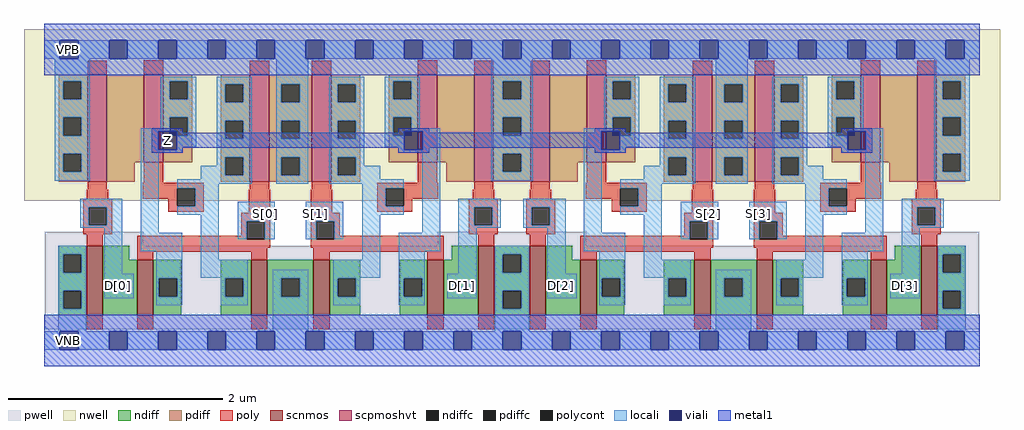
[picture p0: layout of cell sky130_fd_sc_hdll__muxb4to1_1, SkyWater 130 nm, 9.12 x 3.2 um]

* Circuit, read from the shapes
.subckt sky130_fd_sc_hdll__muxb4to1_1 D[3] D[2] D[1] D[0] S[3] S[2] S[1] S[0] VGND VNB VPB VPWR Z
XM1 n1 D[0] VGND VNB sky130_fd_pr__nfet_01v8 w=0.65 l=0.15
XM2 Z S[0] n1 VNB sky130_fd_pr__nfet_01v8 w=0.52 l=0.15
XM3 VGND S[0] n2 VNB sky130_fd_pr__nfet_01v8 w=0.52 l=0.15
XM4 n3 S[1] VGND VNB sky130_fd_pr__nfet_01v8 w=0.52 l=0.15
XM5 n4 S[1] Z VNB sky130_fd_pr__nfet_01v8 w=0.52 l=0.15
XM6 VGND D[1] n4 VNB sky130_fd_pr__nfet_01v8 w=0.65 l=0.15
XM7 n5 D[2] VGND VNB sky130_fd_pr__nfet_01v8 w=0.65 l=0.15
XM8 Z S[2] n5 VNB sky130_fd_pr__nfet_01v8 w=0.52 l=0.15
XM9 VGND S[2] n6 VNB sky130_fd_pr__nfet_01v8 w=0.52 l=0.15
XM10 n7 S[3] VGND VNB sky130_fd_pr__nfet_01v8 w=0.52 l=0.15
XM11 n8 S[3] Z VNB sky130_fd_pr__nfet_01v8 w=0.52 l=0.15
XM12 VGND D[3] n8 VNB sky130_fd_pr__nfet_01v8 w=0.65 l=0.15
XM13 n9 D[0] VPWR VPB sky130_fd_pr__pfet_01v8_hvt w=1 l=0.18
XM14 Z n2 n9 VPB sky130_fd_pr__pfet_01v8_hvt w=0.82 l=0.18
XM15 VPWR S[0] n2 VPB sky130_fd_pr__pfet_01v8_hvt w=1 l=0.18
XM16 n3 S[1] VPWR VPB sky130_fd_pr__pfet_01v8_hvt w=1 l=0.18
XM17 n10 n3 Z VPB sky130_fd_pr__pfet_01v8_hvt w=0.82 l=0.18
XM18 VPWR D[1] n10 VPB sky130_fd_pr__pfet_01v8_hvt w=1 l=0.18
XM19 n11 D[2] VPWR VPB sky130_fd_pr__pfet_01v8_hvt w=1 l=0.18
XM20 Z n6 n11 VPB sky130_fd_pr__pfet_01v8_hvt w=0.82 l=0.18
XM21 VPWR S[2] n6 VPB sky130_fd_pr__pfet_01v8_hvt w=1 l=0.18
XM22 n7 S[3] VPWR VPB sky130_fd_pr__pfet_01v8_hvt w=1 l=0.18
XM23 n12 n7 Z VPB sky130_fd_pr__pfet_01v8_hvt w=0.82 l=0.18
XM24 VPWR D[3] n12 VPB sky130_fd_pr__pfet_01v8_hvt w=1 l=0.18
.ends

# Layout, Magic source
magic
tech sky130A
magscale 1 2
<< nwell >>
rect -38 261 1786 582
<< pwell >>
rect 1 177 185 203
rect 735 177 1013 203
rect 1563 177 1747 203
rect 1 21 1747 177
rect 29 -17 63 21
<< scnmos >>
rect 79 47 109 177
rect 174 47 204 151
rect 387 47 417 151
rect 503 47 533 151
rect 716 47 746 151
rect 811 47 841 177
rect 907 47 937 177
rect 1002 47 1032 151
rect 1215 47 1245 151
rect 1331 47 1361 151
rect 1544 47 1574 151
rect 1639 47 1669 177
<< scpmoshvt >>
rect 81 297 117 497
rect 186 333 222 497
rect 384 297 420 497
rect 500 297 536 497
rect 698 333 734 497
rect 803 297 839 497
rect 909 297 945 497
rect 1014 333 1050 497
rect 1212 297 1248 497
rect 1328 297 1364 497
rect 1526 333 1562 497
rect 1631 297 1667 497
<< ndiff >>
rect 27 161 79 177
rect 27 127 35 161
rect 69 127 79 161
rect 27 93 79 127
rect 27 59 35 93
rect 69 59 79 93
rect 27 47 79 59
rect 109 151 159 177
rect 761 151 811 177
rect 109 47 174 151
rect 204 116 256 151
rect 204 82 214 116
rect 248 82 256 116
rect 204 47 256 82
rect 330 116 387 151
rect 330 82 338 116
rect 372 82 387 116
rect 330 47 387 82
rect 417 116 503 151
rect 417 82 443 116
rect 477 82 503 116
rect 417 47 503 82
rect 533 116 590 151
rect 533 82 548 116
rect 582 82 590 116
rect 533 47 590 82
rect 664 116 716 151
rect 664 82 672 116
rect 706 82 716 116
rect 664 47 716 82
rect 746 47 811 151
rect 841 161 907 177
rect 841 127 857 161
rect 891 127 907 161
rect 841 93 907 127
rect 841 59 857 93
rect 891 59 907 93
rect 841 47 907 59
rect 937 151 987 177
rect 1589 151 1639 177
rect 937 47 1002 151
rect 1032 116 1084 151
rect 1032 82 1042 116
rect 1076 82 1084 116
rect 1032 47 1084 82
rect 1158 116 1215 151
rect 1158 82 1166 116
rect 1200 82 1215 116
rect 1158 47 1215 82
rect 1245 116 1331 151
rect 1245 82 1271 116
rect 1305 82 1331 116
rect 1245 47 1331 82
rect 1361 116 1418 151
rect 1361 82 1376 116
rect 1410 82 1418 116
rect 1361 47 1418 82
rect 1492 116 1544 151
rect 1492 82 1500 116
rect 1534 82 1544 116
rect 1492 47 1544 82
rect 1574 47 1639 151
rect 1669 161 1721 177
rect 1669 127 1679 161
rect 1713 127 1721 161
rect 1669 93 1721 127
rect 1669 59 1679 93
rect 1713 59 1721 93
rect 1669 47 1721 59
<< pdiff >>
rect 27 485 81 497
rect 27 451 35 485
rect 69 451 81 485
rect 27 417 81 451
rect 27 383 35 417
rect 69 383 81 417
rect 27 349 81 383
rect 27 315 35 349
rect 69 315 81 349
rect 27 297 81 315
rect 117 333 186 497
rect 222 485 276 497
rect 222 451 234 485
rect 268 451 276 485
rect 222 417 276 451
rect 222 383 234 417
rect 268 383 276 417
rect 222 333 276 383
rect 330 479 384 497
rect 330 445 338 479
rect 372 445 384 479
rect 330 411 384 445
rect 330 377 338 411
rect 372 377 384 411
rect 330 343 384 377
rect 117 297 169 333
rect 330 309 338 343
rect 372 309 384 343
rect 330 297 384 309
rect 420 479 500 497
rect 420 445 443 479
rect 477 445 500 479
rect 420 411 500 445
rect 420 377 443 411
rect 477 377 500 411
rect 420 343 500 377
rect 420 309 443 343
rect 477 309 500 343
rect 420 297 500 309
rect 536 479 590 497
rect 536 445 548 479
rect 582 445 590 479
rect 536 411 590 445
rect 536 377 548 411
rect 582 377 590 411
rect 536 343 590 377
rect 536 309 548 343
rect 582 309 590 343
rect 644 485 698 497
rect 644 451 652 485
rect 686 451 698 485
rect 644 417 698 451
rect 644 383 652 417
rect 686 383 698 417
rect 644 333 698 383
rect 734 333 803 497
rect 536 297 590 309
rect 751 297 803 333
rect 839 485 909 497
rect 839 451 857 485
rect 891 451 909 485
rect 839 417 909 451
rect 839 383 857 417
rect 891 383 909 417
rect 839 349 909 383
rect 839 315 857 349
rect 891 315 909 349
rect 839 297 909 315
rect 945 333 1014 497
rect 1050 485 1104 497
rect 1050 451 1062 485
rect 1096 451 1104 485
rect 1050 417 1104 451
rect 1050 383 1062 417
rect 1096 383 1104 417
rect 1050 333 1104 383
rect 1158 479 1212 497
rect 1158 445 1166 479
rect 1200 445 1212 479
rect 1158 411 1212 445
rect 1158 377 1166 411
rect 1200 377 1212 411
rect 1158 343 1212 377
rect 945 297 997 333
rect 1158 309 1166 343
rect 1200 309 1212 343
rect 1158 297 1212 309
rect 1248 479 1328 497
rect 1248 445 1271 479
rect 1305 445 1328 479
rect 1248 411 1328 445
rect 1248 377 1271 411
rect 1305 377 1328 411
rect 1248 343 1328 377
rect 1248 309 1271 343
rect 1305 309 1328 343
rect 1248 297 1328 309
rect 1364 479 1418 497
rect 1364 445 1376 479
rect 1410 445 1418 479
rect 1364 411 1418 445
rect 1364 377 1376 411
rect 1410 377 1418 411
rect 1364 343 1418 377
rect 1364 309 1376 343
rect 1410 309 1418 343
rect 1472 485 1526 497
rect 1472 451 1480 485
rect 1514 451 1526 485
rect 1472 417 1526 451
rect 1472 383 1480 417
rect 1514 383 1526 417
rect 1472 333 1526 383
rect 1562 333 1631 497
rect 1364 297 1418 309
rect 1579 297 1631 333
rect 1667 485 1721 497
rect 1667 451 1679 485
rect 1713 451 1721 485
rect 1667 417 1721 451
rect 1667 383 1679 417
rect 1713 383 1721 417
rect 1667 349 1721 383
rect 1667 315 1679 349
rect 1713 315 1721 349
rect 1667 297 1721 315
<< ndiffc >>
rect 35 127 69 161
rect 35 59 69 93
rect 214 82 248 116
rect 338 82 372 116
rect 443 82 477 116
rect 548 82 582 116
rect 672 82 706 116
rect 857 127 891 161
rect 857 59 891 93
rect 1042 82 1076 116
rect 1166 82 1200 116
rect 1271 82 1305 116
rect 1376 82 1410 116
rect 1500 82 1534 116
rect 1679 127 1713 161
rect 1679 59 1713 93
<< pdiffc >>
rect 35 451 69 485
rect 35 383 69 417
rect 35 315 69 349
rect 234 451 268 485
rect 234 383 268 417
rect 338 445 372 479
rect 338 377 372 411
rect 338 309 372 343
rect 443 445 477 479
rect 443 377 477 411
rect 443 309 477 343
rect 548 445 582 479
rect 548 377 582 411
rect 548 309 582 343
rect 652 451 686 485
rect 652 383 686 417
rect 857 451 891 485
rect 857 383 891 417
rect 857 315 891 349
rect 1062 451 1096 485
rect 1062 383 1096 417
rect 1166 445 1200 479
rect 1166 377 1200 411
rect 1166 309 1200 343
rect 1271 445 1305 479
rect 1271 377 1305 411
rect 1271 309 1305 343
rect 1376 445 1410 479
rect 1376 377 1410 411
rect 1376 309 1410 343
rect 1480 451 1514 485
rect 1480 383 1514 417
rect 1679 451 1713 485
rect 1679 383 1713 417
rect 1679 315 1713 349
<< poly >>
rect 81 497 117 523
rect 186 497 222 524
rect 384 497 420 523
rect 500 497 536 523
rect 698 497 734 524
rect 803 497 839 523
rect 909 497 945 523
rect 1014 497 1050 524
rect 1212 497 1248 523
rect 1328 497 1364 523
rect 1526 497 1562 524
rect 1631 497 1667 523
rect 81 282 117 297
rect 186 295 222 333
rect 184 285 298 295
rect 79 265 119 282
rect 184 265 248 285
rect 73 249 127 265
rect 73 215 83 249
rect 117 215 127 249
rect 232 251 248 265
rect 282 251 298 285
rect 384 282 420 297
rect 500 282 536 297
rect 698 295 734 333
rect 622 285 736 295
rect 232 241 298 251
rect 382 239 422 282
rect 73 199 127 215
rect 368 223 422 239
rect 79 177 109 199
rect 368 196 378 223
rect 174 189 378 196
rect 412 189 422 223
rect 174 173 422 189
rect 498 239 538 282
rect 622 251 638 285
rect 672 265 736 285
rect 803 282 839 297
rect 909 282 945 297
rect 1014 295 1050 333
rect 1012 285 1126 295
rect 801 265 841 282
rect 907 265 947 282
rect 1012 265 1076 285
rect 672 251 688 265
rect 622 241 688 251
rect 793 249 847 265
rect 498 223 552 239
rect 498 189 508 223
rect 542 196 552 223
rect 793 215 803 249
rect 837 215 847 249
rect 793 199 847 215
rect 901 249 955 265
rect 901 215 911 249
rect 945 215 955 249
rect 1060 251 1076 265
rect 1110 251 1126 285
rect 1212 282 1248 297
rect 1328 282 1364 297
rect 1526 295 1562 333
rect 1450 285 1564 295
rect 1060 241 1126 251
rect 1210 239 1250 282
rect 901 199 955 215
rect 1196 223 1250 239
rect 542 189 746 196
rect 498 173 746 189
rect 811 177 841 199
rect 907 177 937 199
rect 1196 196 1206 223
rect 1002 189 1206 196
rect 1240 189 1250 223
rect 174 166 417 173
rect 174 151 204 166
rect 387 151 417 166
rect 503 166 746 173
rect 503 151 533 166
rect 716 151 746 166
rect 1002 173 1250 189
rect 1326 239 1366 282
rect 1450 251 1466 285
rect 1500 265 1564 285
rect 1631 282 1667 297
rect 1629 265 1669 282
rect 1500 251 1516 265
rect 1450 241 1516 251
rect 1621 249 1675 265
rect 1326 223 1380 239
rect 1326 189 1336 223
rect 1370 196 1380 223
rect 1621 215 1631 249
rect 1665 215 1675 249
rect 1621 199 1675 215
rect 1370 189 1574 196
rect 1326 173 1574 189
rect 1639 177 1669 199
rect 1002 166 1245 173
rect 1002 151 1032 166
rect 1215 151 1245 166
rect 1331 166 1574 173
rect 1331 151 1361 166
rect 1544 151 1574 166
rect 79 21 109 47
rect 174 21 204 47
rect 387 21 417 47
rect 503 21 533 47
rect 716 21 746 47
rect 811 21 841 47
rect 907 21 937 47
rect 1002 21 1032 47
rect 1215 21 1245 47
rect 1331 21 1361 47
rect 1544 21 1574 47
rect 1639 21 1669 47
<< polycont >>
rect 83 215 117 249
rect 248 251 282 285
rect 378 189 412 223
rect 638 251 672 285
rect 508 189 542 223
rect 803 215 837 249
rect 911 215 945 249
rect 1076 251 1110 285
rect 1206 189 1240 223
rect 1466 251 1500 285
rect 1336 189 1370 223
rect 1631 215 1665 249
<< locali >>
rect 0 527 29 561
rect 63 527 121 561
rect 155 527 213 561
rect 247 527 305 561
rect 339 527 397 561
rect 431 527 489 561
rect 523 527 581 561
rect 615 527 673 561
rect 707 527 765 561
rect 799 527 857 561
rect 891 527 949 561
rect 983 527 1041 561
rect 1075 527 1133 561
rect 1167 527 1225 561
rect 1259 527 1317 561
rect 1351 527 1409 561
rect 1443 527 1501 561
rect 1535 527 1593 561
rect 1627 527 1685 561
rect 1719 527 1748 561
rect 19 485 85 527
rect 19 451 35 485
rect 69 451 85 485
rect 19 417 85 451
rect 19 383 35 417
rect 69 383 85 417
rect 218 485 284 493
rect 218 451 234 485
rect 268 451 284 485
rect 218 417 284 451
rect 218 397 234 417
rect 19 349 85 383
rect 19 315 35 349
rect 69 315 85 349
rect 19 299 85 315
rect 180 391 234 397
rect 180 357 213 391
rect 268 383 284 417
rect 247 361 284 383
rect 322 479 388 493
rect 322 445 338 479
rect 372 445 388 479
rect 322 411 388 445
rect 322 377 338 411
rect 372 377 388 411
rect 247 357 259 361
rect 180 351 259 357
rect 67 249 146 265
rect 67 215 83 249
rect 117 215 146 249
rect 67 211 146 215
rect 26 161 78 177
rect 26 127 35 161
rect 69 127 78 161
rect 26 93 78 127
rect 26 59 35 93
rect 69 59 78 93
rect 112 125 146 211
rect 180 201 214 351
rect 322 343 388 377
rect 322 327 338 343
rect 292 309 338 327
rect 372 309 388 343
rect 292 301 388 309
rect 248 293 388 301
rect 433 479 493 527
rect 433 445 443 479
rect 477 445 493 479
rect 433 411 493 445
rect 433 377 443 411
rect 477 377 493 411
rect 433 343 493 377
rect 433 309 443 343
rect 477 309 493 343
rect 433 293 493 309
rect 532 479 598 493
rect 532 445 548 479
rect 582 445 598 479
rect 532 411 598 445
rect 532 377 548 411
rect 582 377 598 411
rect 532 343 598 377
rect 636 485 702 493
rect 636 451 652 485
rect 686 451 702 485
rect 636 417 702 451
rect 636 383 652 417
rect 686 397 702 417
rect 835 485 913 527
rect 835 451 857 485
rect 891 451 913 485
rect 835 417 913 451
rect 686 391 740 397
rect 636 361 673 383
rect 661 357 673 361
rect 707 357 740 391
rect 661 351 740 357
rect 532 309 548 343
rect 582 327 598 343
rect 582 309 628 327
rect 532 301 628 309
rect 532 293 672 301
rect 248 285 326 293
rect 282 251 326 285
rect 594 285 672 293
rect 248 235 326 251
rect 180 167 258 201
rect 112 79 167 125
rect 209 116 258 167
rect 292 151 326 235
rect 361 223 431 259
rect 361 189 378 223
rect 412 189 431 223
rect 489 223 559 259
rect 489 189 508 223
rect 542 189 559 223
rect 594 251 638 285
rect 594 235 672 251
rect 594 151 628 235
rect 706 201 740 351
rect 835 383 857 417
rect 891 383 913 417
rect 1046 485 1112 493
rect 1046 451 1062 485
rect 1096 451 1112 485
rect 1046 417 1112 451
rect 1046 397 1062 417
rect 835 349 913 383
rect 835 315 857 349
rect 891 315 913 349
rect 835 299 913 315
rect 1008 391 1062 397
rect 1008 357 1041 391
rect 1096 383 1112 417
rect 1075 361 1112 383
rect 1150 479 1216 493
rect 1150 445 1166 479
rect 1200 445 1216 479
rect 1150 411 1216 445
rect 1150 377 1166 411
rect 1200 377 1216 411
rect 1075 357 1087 361
rect 1008 351 1087 357
rect 292 117 380 151
rect 209 82 214 116
rect 248 82 258 116
rect 209 66 258 82
rect 330 116 380 117
rect 330 82 338 116
rect 372 82 380 116
rect 330 66 380 82
rect 427 116 493 132
rect 427 82 443 116
rect 477 82 493 116
rect 26 17 78 59
rect 427 17 493 82
rect 540 117 628 151
rect 662 167 740 201
rect 774 249 853 265
rect 774 215 803 249
rect 837 215 853 249
rect 774 211 853 215
rect 895 249 974 265
rect 895 215 911 249
rect 945 215 974 249
rect 895 211 974 215
rect 540 116 590 117
rect 540 82 548 116
rect 582 82 590 116
rect 540 66 590 82
rect 662 116 711 167
rect 774 125 808 211
rect 662 82 672 116
rect 706 82 711 116
rect 662 66 711 82
rect 753 79 808 125
rect 842 161 906 177
rect 842 127 857 161
rect 891 127 906 161
rect 842 93 906 127
rect 842 59 857 93
rect 891 59 906 93
rect 940 125 974 211
rect 1008 201 1042 351
rect 1150 343 1216 377
rect 1150 327 1166 343
rect 1120 309 1166 327
rect 1200 309 1216 343
rect 1120 301 1216 309
rect 1076 293 1216 301
rect 1255 479 1315 527
rect 1255 445 1271 479
rect 1305 445 1315 479
rect 1255 411 1315 445
rect 1255 377 1271 411
rect 1305 377 1315 411
rect 1255 343 1315 377
rect 1255 309 1271 343
rect 1305 309 1315 343
rect 1255 293 1315 309
rect 1360 479 1426 493
rect 1360 445 1376 479
rect 1410 445 1426 479
rect 1360 411 1426 445
rect 1360 377 1376 411
rect 1410 377 1426 411
rect 1360 343 1426 377
rect 1464 485 1530 493
rect 1464 451 1480 485
rect 1514 451 1530 485
rect 1464 417 1530 451
rect 1464 383 1480 417
rect 1514 397 1530 417
rect 1663 485 1729 527
rect 1663 451 1679 485
rect 1713 451 1729 485
rect 1663 417 1729 451
rect 1514 391 1568 397
rect 1464 361 1501 383
rect 1489 357 1501 361
rect 1535 357 1568 391
rect 1489 351 1568 357
rect 1360 309 1376 343
rect 1410 327 1426 343
rect 1410 309 1456 327
rect 1360 301 1456 309
rect 1360 293 1500 301
rect 1076 285 1154 293
rect 1110 251 1154 285
rect 1422 285 1500 293
rect 1076 235 1154 251
rect 1008 167 1086 201
rect 940 79 995 125
rect 1037 116 1086 167
rect 1120 151 1154 235
rect 1189 223 1259 259
rect 1189 189 1206 223
rect 1240 189 1259 223
rect 1317 223 1387 259
rect 1317 189 1336 223
rect 1370 189 1387 223
rect 1422 251 1466 285
rect 1422 235 1500 251
rect 1422 151 1456 235
rect 1534 201 1568 351
rect 1663 383 1679 417
rect 1713 383 1729 417
rect 1663 349 1729 383
rect 1663 315 1679 349
rect 1713 315 1729 349
rect 1663 299 1729 315
rect 1120 117 1208 151
rect 1037 82 1042 116
rect 1076 82 1086 116
rect 1037 66 1086 82
rect 1158 116 1208 117
rect 1158 82 1166 116
rect 1200 82 1208 116
rect 1158 66 1208 82
rect 1255 116 1321 132
rect 1255 82 1271 116
rect 1305 82 1321 116
rect 842 17 906 59
rect 1255 17 1321 82
rect 1368 117 1456 151
rect 1490 167 1568 201
rect 1602 249 1681 265
rect 1602 215 1631 249
rect 1665 215 1681 249
rect 1602 211 1681 215
rect 1368 116 1418 117
rect 1368 82 1376 116
rect 1410 82 1418 116
rect 1368 66 1418 82
rect 1490 116 1539 167
rect 1602 125 1636 211
rect 1490 82 1500 116
rect 1534 82 1539 116
rect 1490 66 1539 82
rect 1581 79 1636 125
rect 1670 161 1722 177
rect 1670 127 1679 161
rect 1713 127 1722 161
rect 1670 93 1722 127
rect 1670 59 1679 93
rect 1713 59 1722 93
rect 1670 17 1722 59
rect 0 -17 29 17
rect 63 -17 121 17
rect 155 -17 213 17
rect 247 -17 305 17
rect 339 -17 397 17
rect 431 -17 489 17
rect 523 -17 581 17
rect 615 -17 673 17
rect 707 -17 765 17
rect 799 -17 857 17
rect 891 -17 949 17
rect 983 -17 1041 17
rect 1075 -17 1133 17
rect 1167 -17 1225 17
rect 1259 -17 1317 17
rect 1351 -17 1409 17
rect 1443 -17 1501 17
rect 1535 -17 1593 17
rect 1627 -17 1685 17
rect 1719 -17 1748 17
<< viali >>
rect 29 527 63 561
rect 121 527 155 561
rect 213 527 247 561
rect 305 527 339 561
rect 397 527 431 561
rect 489 527 523 561
rect 581 527 615 561
rect 673 527 707 561
rect 765 527 799 561
rect 857 527 891 561
rect 949 527 983 561
rect 1041 527 1075 561
rect 1133 527 1167 561
rect 1225 527 1259 561
rect 1317 527 1351 561
rect 1409 527 1443 561
rect 1501 527 1535 561
rect 1593 527 1627 561
rect 1685 527 1719 561
rect 213 383 234 391
rect 234 383 247 391
rect 213 357 247 383
rect 673 383 686 391
rect 686 383 707 391
rect 673 357 707 383
rect 1041 383 1062 391
rect 1062 383 1075 391
rect 1041 357 1075 383
rect 1501 383 1514 391
rect 1514 383 1535 391
rect 1501 357 1535 383
rect 29 -17 63 17
rect 121 -17 155 17
rect 213 -17 247 17
rect 305 -17 339 17
rect 397 -17 431 17
rect 489 -17 523 17
rect 581 -17 615 17
rect 673 -17 707 17
rect 765 -17 799 17
rect 857 -17 891 17
rect 949 -17 983 17
rect 1041 -17 1075 17
rect 1133 -17 1167 17
rect 1225 -17 1259 17
rect 1317 -17 1351 17
rect 1409 -17 1443 17
rect 1501 -17 1535 17
rect 1593 -17 1627 17
rect 1685 -17 1719 17
<< metal1 >>
rect 0 561 1748 592
rect 0 527 29 561
rect 63 527 121 561
rect 155 527 213 561
rect 247 527 305 561
rect 339 527 397 561
rect 431 527 489 561
rect 523 527 581 561
rect 615 527 673 561
rect 707 527 765 561
rect 799 527 857 561
rect 891 527 949 561
rect 983 527 1041 561
rect 1075 527 1133 561
rect 1167 527 1225 561
rect 1259 527 1317 561
rect 1351 527 1409 561
rect 1443 527 1501 561
rect 1535 527 1593 561
rect 1627 527 1685 561
rect 1719 527 1748 561
rect 0 496 1748 527
rect 201 391 259 397
rect 201 357 213 391
rect 247 388 259 391
rect 661 391 719 397
rect 661 388 673 391
rect 247 360 673 388
rect 247 357 259 360
rect 201 351 259 357
rect 661 357 673 360
rect 707 388 719 391
rect 1029 391 1087 397
rect 1029 388 1041 391
rect 707 360 1041 388
rect 707 357 719 360
rect 661 351 719 357
rect 1029 357 1041 360
rect 1075 388 1087 391
rect 1489 391 1547 397
rect 1489 388 1501 391
rect 1075 360 1501 388
rect 1075 357 1087 360
rect 1029 351 1087 357
rect 1489 357 1501 360
rect 1535 357 1547 391
rect 1489 351 1547 357
rect 0 17 1748 48
rect 0 -17 29 17
rect 63 -17 121 17
rect 155 -17 213 17
rect 247 -17 305 17
rect 339 -17 397 17
rect 431 -17 489 17
rect 523 -17 581 17
rect 615 -17 673 17
rect 707 -17 765 17
rect 799 -17 857 17
rect 891 -17 949 17
rect 983 -17 1041 17
rect 1075 -17 1133 17
rect 1167 -17 1225 17
rect 1259 -17 1317 17
rect 1351 -17 1409 17
rect 1443 -17 1501 17
rect 1535 -17 1593 17
rect 1627 -17 1685 17
rect 1719 -17 1748 17
rect 0 -48 1748 -17
<< labels >>
flabel locali s 397 221 431 255 0 FreeSans 200 0 0 0 S[0]
port 8 nsew signal input
flabel locali s 121 85 155 119 0 FreeSans 200 0 0 0 D[0]
port 4 nsew signal input
flabel locali s 765 85 799 119 0 FreeSans 200 180 0 0 D[1]
port 3 nsew signal input
flabel locali s 489 221 523 255 0 FreeSans 200 180 0 0 S[1]
port 7 nsew signal input
flabel locali s 1225 221 1259 255 0 FreeSans 200 0 0 0 S[2]
port 6 nsew signal input
flabel locali s 949 85 983 119 0 FreeSans 200 0 0 0 D[2]
port 2 nsew signal input
flabel locali s 1593 85 1627 119 0 FreeSans 200 180 0 0 D[3]
port 1 nsew signal input
flabel locali s 1317 221 1351 255 0 FreeSans 200 180 0 0 S[3]
port 5 nsew signal input
flabel nwell s 29 527 63 561 0 FreeSans 200 0 0 0 VPB
port 11 nsew power bidirectional
flabel pwell s 29 -17 63 17 0 FreeSans 200 0 0 0 VNB
port 10 nsew ground bidirectional
flabel metal1 s 29 -17 63 17 0 FreeSans 200 0 0 0 VGND
port 9 nsew ground bidirectional
flabel metal1 s 29 527 63 561 0 FreeSans 200 0 0 0 VPWR
port 12 nsew power bidirectional
flabel metal1 s 213 357 247 391 0 FreeSans 200 0 0 0 Z
port 13 nsew signal output
rlabel comment s 0 0 0 0 4 muxb4to1_1
<< properties >>
string LEFsite unithd
string LEFclass CORE
string FIXED_BBOX 0 0 1748 544
string GDS_FILE $PDKPATH/libs.ref/sky130_fd_sc_hdll/gds/sky130_fd_sc_hdll.gds
string LEFsymmetry X Y R90
string GDS_END 3051428
string GDS_START 3032294
string LEFproperties maskLayoutSubType "abstract" prCellType "standard" originalViewName "layout"
<< end >>
